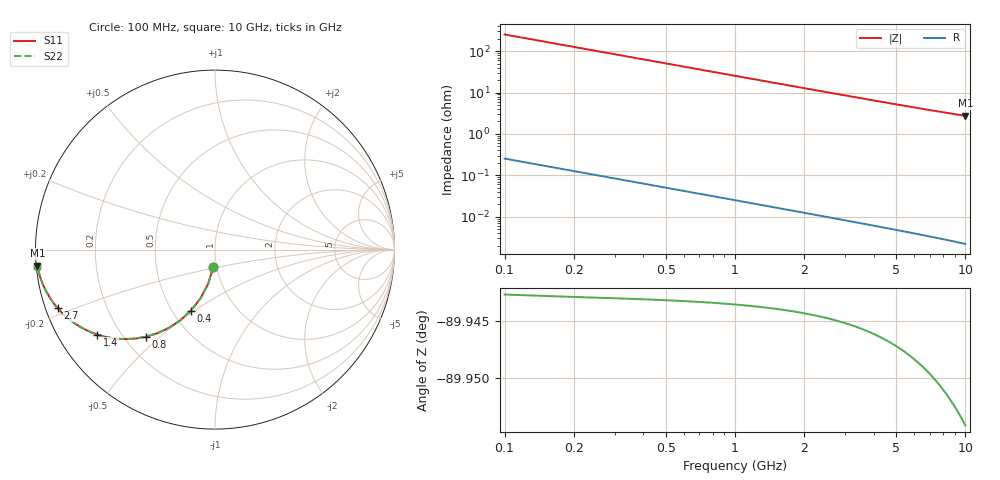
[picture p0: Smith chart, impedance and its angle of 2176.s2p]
# Hz S RI R 50.00
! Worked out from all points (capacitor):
!   100 points, 100 MHz to 10 GHz, reference 50 ohm
!   read as one part in shunt: C = 6.28 pF near 100 MHz
!   lowest |Z| = 2.74 ohm at 10 GHz (marker M1)
!   S11 on the Smith chart (normalised r, x): 100 MHz: 0.96, -0.19; 400 MHz: 0.62, -0.49; 800 MHz: 0.29, -0.45; 1.4 GHz: 0.12, -0.32; 2.7 GHz: 0.03, -0.18; 10 GHz: 0.00, -0.04
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1e8  -0.00973 -0.0977  0.9902 -0.0978  0.9902 -0.0978  -0.00973 -0.0977
2e8  -0.0377 -0.1898  0.9623 -0.1901  0.9623 -0.1901  -0.0377 -0.1898
3e8  -0.0808 -0.2718  0.9191 -0.2724  0.9191 -0.2724  -0.0808 -0.2718
4e8  -0.1351 -0.3409  0.8649 -0.3417  0.8649 -0.3417  -0.1351 -0.3409
5e8  -0.196 -0.396  0.804 -0.3969  0.804 -0.3969  -0.196 -0.396
6e8  -0.2597 -0.4374  0.7402 -0.4385  0.7402 -0.4385  -0.2597 -0.4374
7e8  -0.3231 -0.4665  0.6769 -0.4678  0.6769 -0.4678  -0.3231 -0.4665
8e8  -0.3839 -0.4851  0.6161 -0.4866  0.6161 -0.4866  -0.3839 -0.4851
9e8  -0.4408 -0.4951  0.5592 -0.4968  0.5592 -0.4968  -0.4408 -0.4951
1.1e9  -0.5405 -0.4968  0.4595 -0.4989  0.4595 -0.4989  -0.5405 -0.4968
1.2e9  -0.5832 -0.4914  0.4168 -0.4936  0.4168 -0.4936  -0.5832 -0.4914
1.4e9  -0.6555 -0.4734  0.3445 -0.476  0.3445 -0.476  -0.6555 -0.4734
1.6e9  -0.7129 -0.4504  0.287 -0.4534  0.287 -0.4534  -0.7129 -0.4504
1.8e9  -0.7585 -0.4258  0.2415 -0.4292  0.2415 -0.4292  -0.7585 -0.4258
2.2e9  -0.8241 -0.3782  0.1758 -0.3822  0.1758 -0.3822  -0.8241 -0.3782
2.7e9  -0.8757 -0.3268  0.1242 -0.3319  0.1242 -0.3319  -0.8757 -0.3268
3.4e9  -0.9178 -0.271  0.0822 -0.2773  0.0822 -0.2773  -0.9178 -0.271
4.2e9  -0.9445 -0.2244  0.0554 -0.2323  0.0554 -0.2323  -0.9445 -0.2244
5.1e9  -0.9617 -0.1864  0.0382 -0.1961  0.0382 -0.1961  -0.9617 -0.1864
6.7e9  -0.9775 -0.141  0.0223 -0.1539  0.0223 -0.1539  -0.9775 -0.141
8.4e9  -0.9857 -0.1097  0.0141 -0.126  0.0141 -0.126  -0.9857 -0.1097
1e10  -0.99 -0.0887  0.00981 -0.1084  0.00981 -0.1084  -0.99 -0.0887
